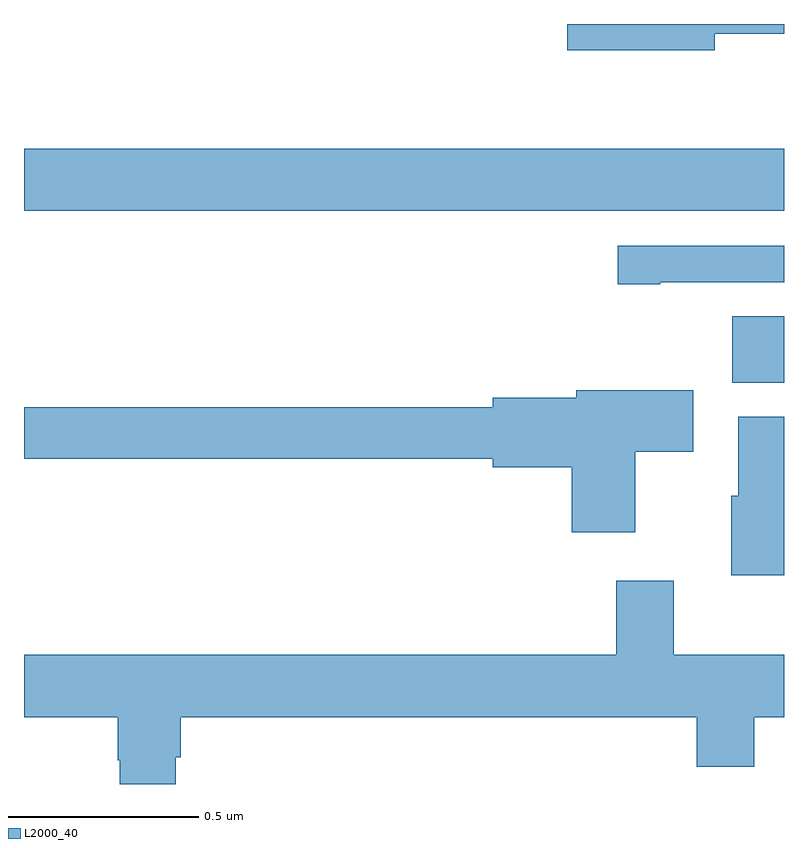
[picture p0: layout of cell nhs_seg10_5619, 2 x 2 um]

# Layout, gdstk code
import gdstk
lib = gdstk.Library(unit=1e-6, precision=1e-09)
def R(c, l, rs):  # rectangles x0, y0, x1, y1
    for r in rs: c.add(gdstk.rectangle(r[:2], r[2:], *l))
def P(c, l, *ps):  # polygons
    for p in ps: c.add(gdstk.Polygon(p, *l))
L2000_40 = (2000, 40)

nhs_seg10_5619 = lib.new_cell('nhs_seg10_5619')
R(nhs_seg10_5619, L2000_40, [(182.864,1274.556,183,1274.731), (181,1275.008,183,1275.172)])
P(nhs_seg10_5619, L2000_40, [(182.818,1275.474),(183,1275.474),(183,1275.5),(182.43,1275.5),(182.43,1275.431),(182.818,1275.431)],
  [(182.674,1274.82),(183,1274.82),(183,1274.916),(182.562,1274.916),(182.562,1274.815),(182.674,1274.815)],
  [(182.608,1274.374),(182.761,1274.374),(182.761,1274.536),(182.453,1274.536),(182.453,1274.516),(182.234,1274.516),(182.234,1274.492),(181,1274.492),(181,1274.356),(182.234,1274.356),(182.234,1274.333),(182.441,1274.333),(182.441,1274.163),(182.608,1274.163)],
  [(183,1274.467),(182.879,1274.467),(182.879,1274.259),(182.861,1274.259),(182.861,1274.049),(183,1274.049)],
  [(181.399,1273.57),(181.412,1273.57),(181.412,1273.676),(182.771,1273.676),(182.771,1273.545),(182.922,1273.545),(182.922,1273.676),(183,1273.676),(183,1273.84),(182.71,1273.84),(182.71,1274.035),(182.558,1274.035),(182.558,1273.84),(181,1273.84),(181,1273.676),(181.247,1273.676),(181.247,1273.563),(181.252,1273.563),(181.252,1273.5),(181.399,1273.5)])

lib.write_gds('nhs_seg10_5619.gds')
